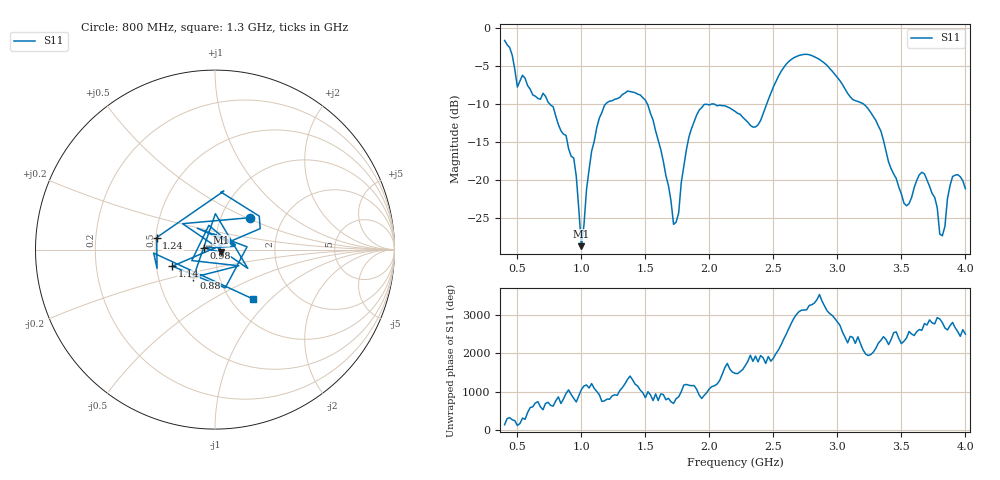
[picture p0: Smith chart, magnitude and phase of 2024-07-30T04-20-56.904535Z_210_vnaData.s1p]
!Created with skrf (http://scikit-rf.org).
# Hz S RI R 50.0
!freq ReS11 ImS11
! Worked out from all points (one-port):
!   181 points, 400 MHz to 4 GHz, reference 50 ohm
!   lowest |S11| = -28.7 dB at 1 GHz (marker M1), VSWR 1.08, Z = 53.4 - j1.61 ohm
!   |S11| at or under -10 dB: 752.3 MHz to 1.191 GHz (438.7 MHz wide, 45.1 % of centre); 1.515 GHz to 2.019 GHz (504.1 MHz wide, 28.5 % of centre); 3.203 GHz to end of sweep (the widest 3 of 4)
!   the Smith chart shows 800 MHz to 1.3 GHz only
!   S11 on the Smith chart (normalised r, x): 800 MHz: 1.36, +0.52; 880 MHz: 0.75, -0.24; 980 MHz: 0.88, +0.02; 1.14 GHz: 0.61, -0.12; 1.24 GHz: 0.51, +0.08; 1.3 GHz: 1.26, -0.79
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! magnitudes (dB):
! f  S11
! 400 MHz  -1.6
! 500 MHz  -7.8
! 800 MHz  -11.6
! 860 MHz  -14.0
! 880 MHz  -14.1
! 940 MHz  -17.1
! 980 MHz  -23.9
! 1 GHz  -28.7
! 1.08 GHz  -16.2
! 1.14 GHz  -11.9
! 1.24 GHz  -9.6
! 1.3 GHz  -9.1
! 1.5 GHz  -9.5
! 1.62 GHz  -16.0
! 1.72 GHz  -25.9
! 1.76 GHz  -24.3
! 1.84 GHz  -14.3
! 1.92 GHz  -10.8
! 2.2 GHz  -11.0
! 2.38 GHz  -12.7
! 2.66 GHz  -3.9
! 3.1 GHz  -9.1
! 3.3 GHz  -12.2
! 3.56 GHz  -23.1
! 3.68 GHz  -19.2
! 3.82 GHz  -27.4
! 3.9 GHz  -19.6
! 4 GHz  -21.2
